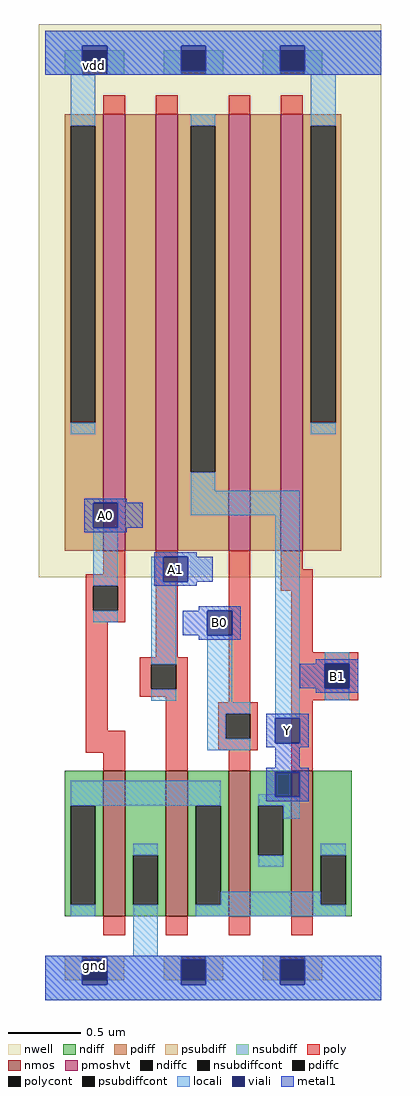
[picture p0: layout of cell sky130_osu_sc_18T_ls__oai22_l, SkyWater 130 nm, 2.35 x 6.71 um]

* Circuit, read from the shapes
.subckt sky130_osu_sc_18T_ls__oai22_l A0 A1 Y B0
XM1 gnd A0 n1 gnd sky130_fd_pr__nfet_01v8 w=1 l=0.15
XM2 n1 A1 gnd gnd sky130_fd_pr__nfet_01v8 w=1 l=0.15
XM3 Y B0 n1 gnd sky130_fd_pr__nfet_01v8 w=1 l=0.15
XM4 n1 B1 Y gnd sky130_fd_pr__nfet_01v8 w=1 l=0.15
XM5 n2 A0 vdd vdd sky130_fd_pr__pfet_01v8_hvt w=3 l=0.15
XM6 Y A1 n2 vdd sky130_fd_pr__pfet_01v8_hvt w=3 l=0.15
XM7 n3 B0 Y vdd sky130_fd_pr__pfet_01v8_hvt w=3 l=0.15
XM8 vdd B1 n3 vdd sky130_fd_pr__pfet_01v8_hvt w=3 l=0.15
.ends

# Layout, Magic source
magic
tech sky130A
magscale 1 2
<< nwell >>
rect -9 581 462 1341
<< nmos >>
rect 80 115 110 315
rect 166 115 196 315
rect 252 115 282 315
rect 338 115 368 315
<< pmoshvt >>
rect 80 617 110 1217
rect 152 617 182 1217
rect 252 617 282 1217
rect 324 617 354 1217
<< ndiff >>
rect 27 267 80 315
rect 27 131 35 267
rect 69 131 80 267
rect 27 115 80 131
rect 110 199 166 315
rect 110 131 121 199
rect 155 131 166 199
rect 110 115 166 131
rect 196 267 252 315
rect 196 131 207 267
rect 241 131 252 267
rect 196 115 252 131
rect 282 267 338 315
rect 282 199 293 267
rect 327 199 338 267
rect 282 115 338 199
rect 368 199 421 315
rect 368 131 379 199
rect 413 131 421 199
rect 368 115 421 131
<< pdiff >>
rect 27 1201 80 1217
rect 27 793 35 1201
rect 69 793 80 1201
rect 27 617 80 793
rect 110 617 152 1217
rect 182 1201 252 1217
rect 182 725 200 1201
rect 234 725 252 1201
rect 182 617 252 725
rect 282 617 324 1217
rect 354 1201 407 1217
rect 354 793 365 1201
rect 399 793 407 1201
rect 354 617 407 793
<< ndiffc >>
rect 35 131 69 267
rect 121 131 155 199
rect 207 131 241 267
rect 293 199 327 267
rect 379 131 413 199
<< pdiffc >>
rect 35 793 69 1201
rect 200 725 234 1201
rect 365 793 399 1201
<< psubdiff >>
rect 27 27 51 61
rect 85 27 109 61
rect 163 27 187 61
rect 221 27 245 61
rect 299 27 323 61
rect 357 27 381 61
<< nsubdiff >>
rect 27 1271 51 1305
rect 85 1271 109 1305
rect 163 1271 187 1305
rect 221 1271 245 1305
rect 299 1271 323 1305
rect 357 1271 381 1305
<< psubdiffcont >>
rect 51 27 85 61
rect 187 27 221 61
rect 323 27 357 61
<< nsubdiffcont >>
rect 51 1271 85 1305
rect 187 1271 221 1305
rect 323 1271 357 1305
<< poly >>
rect 80 1217 110 1243
rect 152 1217 182 1243
rect 252 1217 282 1243
rect 324 1217 354 1243
rect 80 585 110 617
rect 56 569 110 585
rect 56 535 66 569
rect 100 535 110 569
rect 56 519 110 535
rect 56 370 86 519
rect 152 471 182 617
rect 130 461 196 471
rect 130 427 146 461
rect 180 427 196 461
rect 130 417 196 427
rect 56 340 110 370
rect 80 315 110 340
rect 166 315 196 417
rect 252 409 282 617
rect 324 592 354 617
rect 324 562 368 592
rect 338 478 368 562
rect 338 462 430 478
rect 338 428 384 462
rect 418 428 430 462
rect 338 412 430 428
rect 238 393 292 409
rect 238 359 248 393
rect 282 359 292 393
rect 238 343 292 359
rect 252 315 282 343
rect 338 315 368 412
rect 80 89 110 115
rect 166 89 196 115
rect 252 89 282 115
rect 338 89 368 115
<< polycont >>
rect 66 535 100 569
rect 146 427 180 461
rect 384 428 418 462
rect 248 359 282 393
<< locali >>
rect 0 1311 462 1332
rect 0 1271 51 1311
rect 85 1271 187 1311
rect 221 1271 323 1311
rect 357 1271 462 1311
rect 35 1201 69 1271
rect 35 777 69 793
rect 200 1201 234 1217
rect 365 1201 399 1271
rect 365 777 399 793
rect 200 700 234 725
rect 200 666 350 700
rect 66 569 100 649
rect 66 519 100 535
rect 146 575 162 609
rect 146 461 180 575
rect 146 411 180 427
rect 223 409 257 501
rect 223 393 282 409
rect 223 359 248 393
rect 223 343 282 359
rect 316 387 350 666
rect 384 462 418 478
rect 384 412 418 428
rect 35 267 241 301
rect 35 115 69 131
rect 121 199 155 215
rect 121 61 155 131
rect 293 279 316 283
rect 293 267 350 279
rect 327 249 350 267
rect 293 183 327 199
rect 379 199 413 215
rect 241 131 379 149
rect 207 115 413 131
rect 0 21 51 61
rect 85 21 187 61
rect 221 21 323 61
rect 357 21 462 61
rect 0 0 462 21
<< viali >>
rect 51 1305 85 1311
rect 51 1277 85 1305
rect 187 1305 221 1311
rect 187 1277 221 1305
rect 323 1305 357 1311
rect 323 1277 357 1305
rect 66 649 100 683
rect 162 575 196 609
rect 223 501 257 535
rect 384 428 418 462
rect 316 353 350 387
rect 316 279 350 313
rect 51 27 85 55
rect 51 21 85 27
rect 187 27 221 55
rect 187 21 221 27
rect 323 27 357 55
rect 323 21 357 27
<< metal1 >>
rect 0 1311 462 1332
rect 0 1277 51 1311
rect 85 1277 187 1311
rect 221 1277 323 1311
rect 357 1277 462 1311
rect 0 1271 462 1277
rect 54 683 112 689
rect 54 649 66 683
rect 100 649 134 683
rect 54 643 112 649
rect 150 609 208 615
rect 150 575 162 609
rect 196 575 230 609
rect 150 569 208 575
rect 211 535 269 541
rect 189 501 223 535
rect 257 501 269 535
rect 211 495 269 501
rect 372 462 430 468
rect 350 428 384 462
rect 418 428 430 462
rect 372 422 430 428
rect 304 387 362 393
rect 304 353 316 387
rect 350 353 362 387
rect 304 347 362 353
rect 316 319 350 347
rect 304 313 362 319
rect 304 279 316 313
rect 350 279 362 313
rect 304 273 362 279
rect 0 55 462 61
rect 0 21 51 55
rect 85 21 187 55
rect 221 21 323 55
rect 357 21 462 55
rect 0 0 462 21
<< labels >>
rlabel metal1 240 518 240 518 1 B0
port 4 n
rlabel viali 179 592 179 592 1 A1
port 2 n
rlabel viali 83 666 83 666 1 A0
port 1 n
rlabel viali 333 370 333 370 1 Y
port 3 n
rlabel viali 401 445 401 445 1 B1
rlabel viali 68 48 68 48 1 gnd
rlabel viali 68 1284 68 1284 1 vdd
<< end >>
